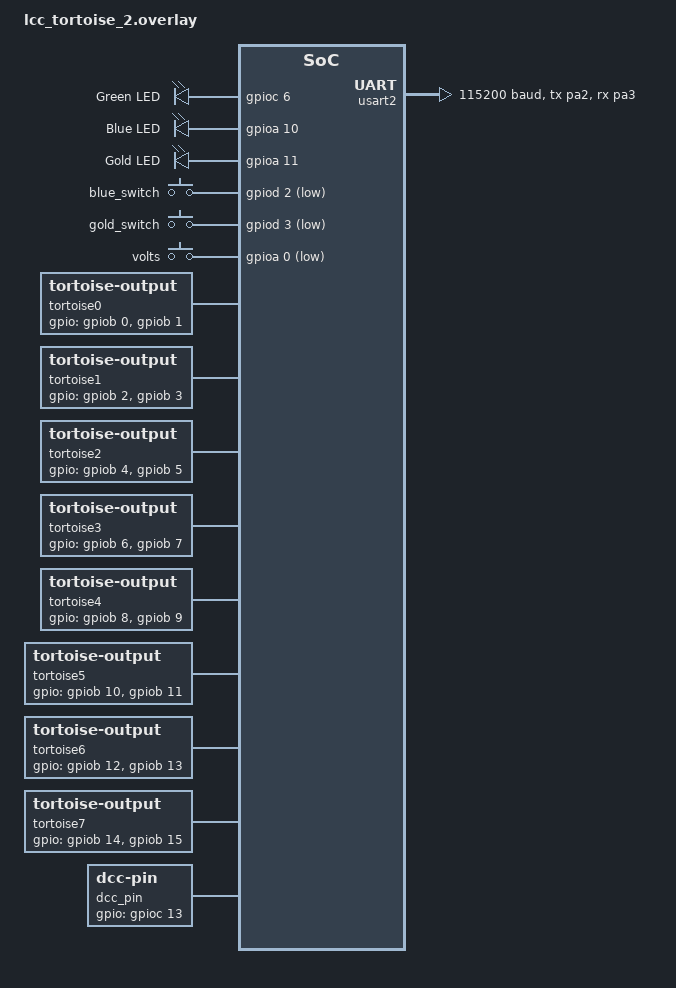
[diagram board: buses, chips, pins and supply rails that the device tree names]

/ {
	chosen {
		zephyr,console = &usart2;
		zephyr,shell-uart = &usart2;
		zephyr,uart-mcumgr = &usart2;
	};

	leds: leds {
		compatible = "gpio-leds";
		green_led: led_6 {
			gpios = <&gpioc 6 GPIO_ACTIVE_HIGH>;
			label = "Green LED";
		};
		blue_led: led_10 {
			gpios = <&gpioa 10 GPIO_ACTIVE_HIGH>;
			label = "Blue LED";
		};
		gold_led: led_11 {
			gpios = <&gpioa 11 GPIO_ACTIVE_HIGH>;
			label = "Gold LED";
		};
	};

	gpio_keys {
		compatible = "gpio-keys";
		blue_switch: button_blue {
			label = "blue_switch";
			gpios = <&gpiod 2 (GPIO_ACTIVE_LOW | GPIO_PULL_UP)>;
		};
		gold_switch: button_gold {
			label = "gold_switch";
			gpios = <&gpiod 3 (GPIO_ACTIVE_LOW | GPIO_PULL_UP)>;
		};
		volts: volts_0 {
			label = "volts";
			gpios = <&gpioa 0 (GPIO_ACTIVE_LOW)>;
		};
	};

};

&usart2 {
	pinctrl-0 = <&usart2_tx_pa2 &usart2_rx_pa3>;
	pinctrl-names = "default";
	current-speed = <115200>;
	status = "okay";
};

/ {
	tortoise0: tort0 {
		compatible = "tortoise-output";
		gpios = <&gpiob 0 GPIO_ACTIVE_HIGH>,
		        <&gpiob 1 GPIO_ACTIVE_HIGH>;
		status = "okay";
        };
	tortoise1: tort1 {
		compatible = "tortoise-output";
		gpios = <&gpiob 2 GPIO_ACTIVE_HIGH>,
		        <&gpiob 3 GPIO_ACTIVE_HIGH>;
		status = "okay";
        };
	tortoise2: tort2 {
		compatible = "tortoise-output";
		gpios = <&gpiob 4 GPIO_ACTIVE_HIGH>,
		        <&gpiob 5 GPIO_ACTIVE_HIGH>;
		status = "okay";
        };
	tortoise3: tort3 {
		compatible = "tortoise-output";
		gpios = <&gpiob 6 GPIO_ACTIVE_HIGH>,
		        <&gpiob 7 GPIO_ACTIVE_HIGH>;
		status = "okay";
        };
	tortoise4: tort4 {
		compatible = "tortoise-output";
		gpios = <&gpiob 8 GPIO_ACTIVE_HIGH>,
		        <&gpiob 9 GPIO_ACTIVE_HIGH>;
		status = "okay";
        };
	tortoise5: tort5 {
		compatible = "tortoise-output";
		gpios = <&gpiob 10 GPIO_ACTIVE_HIGH>,
		        <&gpiob 11 GPIO_ACTIVE_HIGH>;
		status = "okay";
        };
	tortoise6: tort6 {
		compatible = "tortoise-output";
		gpios = <&gpiob 12 GPIO_ACTIVE_HIGH>,
		        <&gpiob 13 GPIO_ACTIVE_HIGH>;
		status = "okay";
        };
	tortoise7: tort7 {
		compatible = "tortoise-output";
		gpios = <&gpiob 14 GPIO_ACTIVE_HIGH>,
		        <&gpiob 15 GPIO_ACTIVE_HIGH>;
		status = "okay";
        };

	dcc_pin: dcc_pin {
		compatible = "dcc-pin";
		gpios = <&gpioc 13 GPIO_ACTIVE_HIGH>;
		status = "okay";
	};
};

&flash0 {
	partitions {
		compatible = "fixed-partitions";
		#address-cells = <1>;
		#size-cells = <1>;

//		main_partition: partition@0 {
//			label = "main";
//			reg = <0x00000000 DT_SIZE_K(128)>;
////			read-only;
//		};

		boot_partition: partition@0 {
			label = "bootloader";
			reg = <0x00000000 DT_SIZE_K(12)>;
			read-only;
		};
		slot0_partition: partition@3000 {
			label = "image-0";
			reg = <0x00003000 DT_SIZE_K(56)>;
		};
		slot1_partition: partition@11000 {
			label = "image-1";
			reg = <0x00011000 DT_SIZE_K(56)>;
		};
		/* final 4k reserved for app storage partition */
		storage_partition: partition@1F000 {
			label = "storage";
			reg = <0x0001F000 DT_SIZE_K(4)>;
		};
	};
};

